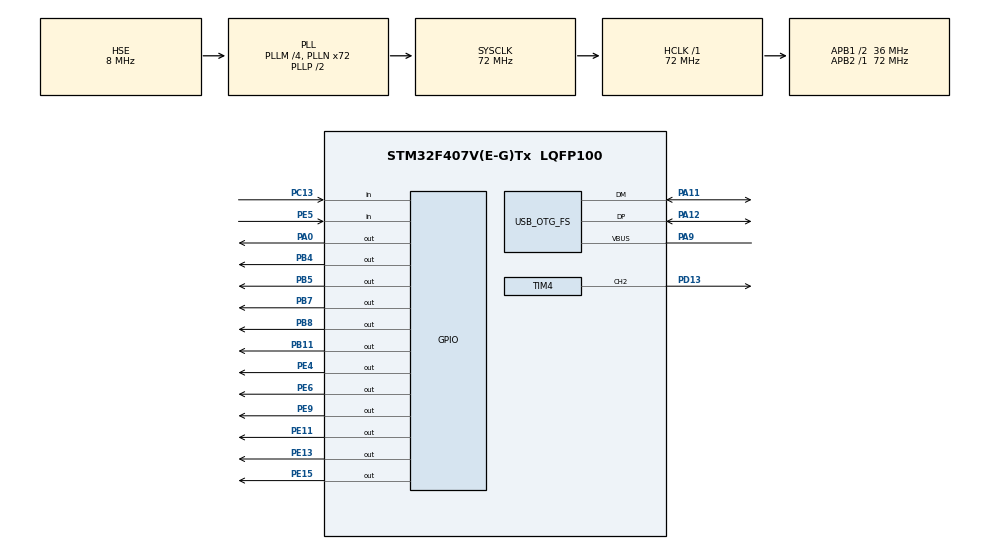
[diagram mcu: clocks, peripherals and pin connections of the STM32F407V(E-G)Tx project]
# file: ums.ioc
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FREERTOS.Tasks01=motorRampa,0,128,motorRampa_init,Default,NULL,Dynamic,NULL,NULL;lightShow,0,128,lightShow_init,Default,NULL,Dynamic,NULL,NULL;interfon,0,128,interfon_init,Default,NULL,Dynamic,NULL,NULL;citacVrata,0,128,citacVrata_init,Default,NULL,Dynamic,NULL,NULL;displej,0,128,displej_init,Default,NULL,Dynamic,NULL,NULL;pomocni,0,128,pomocni_init,Default,NULL,Dynamic,NULL,NULL
Mcu.Family=STM32F4
Mcu.Name=STM32F407V(E-G)Tx
Mcu.Package=LQFP100
NVIC.OTG_FS_IRQn=true\:5\:0\:false\:false\:true\:true\:false\:true\:true
NVIC.PriorityGroup=NVIC_PRIORITYGROUP_4
NVIC.TIM1_UP_TIM10_IRQn=true\:15\:0\:false\:false\:true\:false\:false\:true\:true
NVIC.TimeBase=TIM1_UP_TIM10_IRQn
NVIC.TimeBaseIP=TIM1
PA0-WKUP.Signal=GPIO_Output
PA11.Mode=Device_Only
PA11.Signal=USB_OTG_FS_DM
PA12.Mode=Device_Only
PA12.Signal=USB_OTG_FS_DP
PA13.Mode=Serial_Wire
PA13.Signal=SYS_JTMS-SWDIO
PA14.Mode=Serial_Wire
PA14.Signal=SYS_JTCK-SWCLK
PA9.Mode=Activate_VBUS
PA9.Signal=USB_OTG_FS_VBUS
PB11.Signal=GPIO_Output
PB4.Signal=GPIO_Output
PB5.Signal=GPIO_Output
PB7.Signal=GPIO_Output
PB8.Signal=GPIO_Output
PC13-ANTI_TAMP.Signal=GPIO_Input
PD13.Signal=S_TIM4_CH2
PE11.Signal=GPIO_Output
PE13.Signal=GPIO_Output
PE15.Signal=GPIO_Output
PE4.Signal=GPIO_Output
PE5.Signal=GPIO_Input
PE6.Signal=GPIO_Output
PE9.Signal=GPIO_Output
PH0-OSC_IN.Mode=HSE-External-Oscillator
PH0-OSC_IN.Signal=RCC_OSC_IN
PH1-OSC_OUT.Mode=HSE-External-Oscillator
PH1-OSC_OUT.Signal=RCC_OSC_OUT
ProjectManager.HeapSize=0x200
ProjectManager.StackSize=0x400
ProjectManager.TargetToolchain=STM32CubeIDE
RCC.48MHZClocksFreq_Value=48000000
RCC.AHBFreq_Value=72000000
RCC.APB1CLKDivider=RCC_HCLK_DIV2
RCC.APB1Freq_Value=36000000
RCC.APB1TimFreq_Value=72000000
RCC.APB2Freq_Value=72000000
RCC.APB2TimFreq_Value=72000000
RCC.CortexFreq_Value=72000000
RCC.HCLKFreq_Value=72000000
RCC.HSE_VALUE=8000000
RCC.HSI_VALUE=16000000
RCC.LSE_VALUE=32768
RCC.PLLM=4
RCC.PLLN=72
RCC.PLLQ=3
RCC.SYSCLKFreq_VALUE=72000000
RCC.SYSCLKSource=RCC_SYSCLKSOURCE_PLLCLK
RCC.VCOOutputFreq_Value=144000000
SH.S_TIM4_CH2.0=TIM4_CH2,PWM Generation2 CH2
TIM2.Period=0xfffff-1
TIM2.Prescaler=72-1
TIM3.Prescaler=72-1
TIM4.Channel-PWM\ Generation2\ CH2=TIM_CHANNEL_2
TIM4.Period=20
TIM4.Prescaler=1107-1
USB_DEVICE.CLASS_NAME_FS=CDC
USB_DEVICE.VirtualMode-CDC_FS=Cdc
USB_DEVICE.VirtualModeFS=Cdc_FS
USB_OTG_FS.VirtualMode=Device_Only
VP_FREERTOS_VS_CMSIS_V1.Mode=CMSIS_V1
VP_SYS_VS_tim1.Mode=TIM1
VP_TIM2_VS_ClockSourceINT.Mode=Internal
VP_TIM3_VS_ClockSourceINT.Mode=Internal
VP_TIM4_VS_ClockSourceINT.Mode=Internal
VP_USB_DEVICE_VS_USB_DEVICE_CDC_FS.Mode=CDC_FS
board=custom

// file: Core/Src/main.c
/* USER CODE BEGIN Header */
/**
  ******************************************************************************
  * @file           : main.c
  * @brief          : Main program body
  ******************************************************************************
  * @attention
  *
  * Copyright (c) 2023 STMicroelectronics.
  * All rights reserved.
  *
  * This software is licensed under terms that can be found in the LICENSE file
  * in the root directory of this software component.
  * If no LICENSE file comes with this software, it is provided AS-IS.
  *
  ******************************************************************************
  */
/* USER CODE END Header */
#include "main.h"
#include "cmsis_os.h"
#include "usb_device.h"

TIM_HandleTypeDef htim2;
TIM_HandleTypeDef htim3;
TIM_HandleTypeDef htim4;

osThreadId motorRampaHandle;
osThreadId lightShowHandle;
osThreadId interfonHandle;
osThreadId citacVrataHandle;
osThreadId displejHandle;
osThreadId pomocniHandle;
/* USER CODE BEGIN PV */
uint8_t USBDataReady = 0;
uint8_t* Buffer;
uint16_t buflen;
/* USER CODE END PV */

void SystemClock_Config(void);
static void MX_GPIO_Init(void);
static void MX_TIM2_Init(void);
static void MX_TIM3_Init(void);
static void MX_TIM4_Init(void);
void motorRampa_init(void const * argument);
void lightShow_init(void const * argument);
void interfon_init(void const * argument);
void citacVrata_init(void const * argument);
void displej_init(void const * argument);
void pomocni_init(void const * argument);

/* USER CODE BEGIN 0 */
void USBRxHandler(uint8_t* buf, uint16_t Len){
	USBDataReady = 1;
	Buffer = buf;
	buflen = Len;
}
//motor deklaracija
void delay(uint16_t us) {
	__HAL_TIM_SET_COUNTER(&htim2, 0);
	while (__HAL_TIM_GET_COUNTER(&htim2) < us)
		;
}

void stepper_set_rpm(int rpm) // Set rpm--> max 13, min 1,,,  went to 14 rev/min
{
	delay(60000000 / 4096 / rpm);
}

void stepper_half_drive_gate(int step) {
	switch (step) {
	case 0:
		HAL_GPIO_WritePin(GPIOE, GPIO_PIN_11, GPIO_PIN_SET);   // IN1
		HAL_GPIO_WritePin(GPIOE, GPIO_PIN_13, GPIO_PIN_RESET);   // IN2
		HAL_GPIO_WritePin(GPIOE, GPIO_PIN_15, GPIO_PIN_RESET);   // IN3
		HAL_GPIO_WritePin(GPIOB, GPIO_PIN_11, GPIO_PIN_RESET);   // IN4
		break;

	case 1:
		HAL_GPIO_WritePin(GPIOE, GPIO_PIN_11, GPIO_PIN_SET);   // IN1
		HAL_GPIO_WritePin(GPIOE, GPIO_PIN_13, GPIO_PIN_SET);   // IN2
		HAL_GPIO_WritePin(GPIOE, GPIO_PIN_15, GPIO_PIN_RESET);   // IN3
		HAL_GPIO_WritePin(GPIOB, GPIO_PIN_11, GPIO_PIN_RESET);   // IN4
		break;

	case 2:
		HAL_GPIO_WritePin(GPIOE, GPIO_PIN_11, GPIO_PIN_RESET);   // IN1
		HAL_GPIO_WritePin(GPIOE, GPIO_PIN_13, GPIO_PIN_SET);   // IN2
		HAL_GPIO_WritePin(GPIOE, GPIO_PIN_15, GPIO_PIN_RESET);   // IN3
		HAL_GPIO_WritePin(GPIOB, GPIO_PIN_11, GPIO_PIN_RESET);   // IN4
		break;

	case 3:
		HAL_GPIO_WritePin(GPIOE, GPIO_PIN_11, GPIO_PIN_RESET);   // IN1
		HAL_GPIO_WritePin(GPIOE, GPIO_PIN_13, GPIO_PIN_SET);   // IN2
		HAL_GPIO_WritePin(GPIOE, GPIO_PIN_15, GPIO_PIN_SET);   // IN3
		HAL_GPIO_WritePin(GPIOB, GPIO_PIN_11, GPIO_PIN_RESET);   // IN4
		break;

	case 4:

		HAL_GPIO_WritePin(GPIOE, GPIO_PIN_11, GPIO_PIN_RESET);   // IN1
		HAL_GPIO_WritePin(GPIOE, GPIO_PIN_13, GPIO_PIN_RESET);   // IN2
		HAL_GPIO_WritePin(GPIOE, GPIO_PIN_15, GPIO_PIN_SET);   // IN3
		HAL_GPIO_WritePin(GPIOB, GPIO_PIN_11, GPIO_PIN_RESET);   // IN4
		break;

	case 5:
		HAL_GPIO_WritePin(GPIOE, GPIO_PIN_11, GPIO_PIN_RESET);   // IN1
		HAL_GPIO_WritePin(GPIOE, GPIO_PIN_13, GPIO_PIN_RESET);   // IN2
		HAL_GPIO_WritePin(GPIOE, GPIO_PIN_15, GPIO_PIN_SET);   // IN3
		HAL_GPIO_WritePin(GPIOB, GPIO_PIN_11, GPIO_PIN_SET);   // IN4
		break;

	case 6:
		HAL_GPIO_WritePin(GPIOE, GPIO_PIN_11, GPIO_PIN_RESET);   // IN1
		HAL_GPIO_WritePin(GPIOE, GPIO_PIN_13, GPIO_PIN_RESET);   // IN2
		HAL_GPIO_WritePin(GPIOE, GPIO_PIN_15, GPIO_PIN_RESET);   // IN3
		HAL_GPIO_WritePin(GPIOB, GPIO_PIN_11, GPIO_PIN_SET);   // IN4
		break;

	case 7:
		HAL_GPIO_WritePin(GPIOE, GPIO_PIN_11, GPIO_PIN_SET);   // IN1
		HAL_GPIO_WritePin(GPIOE, GPIO_PIN_13, GPIO_PIN_RESET);   // IN2
		HAL_GPIO_WritePin(GPIOE, GPIO_PIN_15, GPIO_PIN_RESET);   // IN3
		HAL_GPIO_WritePin(GPIOB, GPIO_PIN_11, GPIO_PIN_SET);   // IN4
		break;
	}
}
//motor2
void stepper_half_drive_gate2(int step) {
	switch (step) {
	case 0:
		HAL_GPIO_WritePin(GPIOE, GPIO_PIN_6, GPIO_PIN_SET);   // IN1
		HAL_GPIO_WritePin(GPIOE, GPIO_PIN_4, GPIO_PIN_RESET);   // IN2
		HAL_GPIO_WritePin(GPIOB, GPIO_PIN_8, GPIO_PIN_RESET);   // IN3
		HAL_GPIO_WritePin(GPIOB, GPIO_PIN_4, GPIO_PIN_RESET);   // IN4
		break;

	case 1:
		HAL_GPIO_WritePin(GPIOE, GPIO_PIN_6, GPIO_PIN_SET);   // IN1
		HAL_GPIO_WritePin(GPIOE, GPIO_PIN_4, GPIO_PIN_SET);   // IN2
		HAL_GPIO_WritePin(GPIOB, GPIO_PIN_8, GPIO_PIN_RESET);   // IN3
		HAL_GPIO_WritePin(GPIOB, GPIO_PIN_4, GPIO_PIN_RESET);   // IN4
		break;

	case 2:
		HAL_GPIO_WritePin(GPIOE, GPIO_PIN_6, GPIO_PIN_RESET);   // IN1
		HAL_GPIO_WritePin(GPIOE, GPIO_PIN_4, GPIO_PIN_SET);   // IN2
		HAL_GPIO_WritePin(GPIOB, GPIO_PIN_8, GPIO_PIN_RESET);   // IN3
		HAL_GPIO_WritePin(GPIOB, GPIO_PIN_4, GPIO_PIN_RESET);   // IN4
		break;

	case 3:
		HAL_GPIO_WritePin(GPIOE, GPIO_PIN_6, GPIO_PIN_RESET);   // IN1
		HAL_GPIO_WritePin(GPIOE, GPIO_PIN_4, GPIO_PIN_SET);   // IN2
		HAL_GPIO_WritePin(GPIOB, GPIO_PIN_8, GPIO_PIN_SET);   // IN3
		HAL_GPIO_WritePin(GPIOB, GPIO_PIN_4, GPIO_PIN_RESET);   // IN4
		break;

	case 4:

		HAL_GPIO_WritePin(GPIOE, GPIO_PIN_6, GPIO_PIN_RESET);   // IN1
		HAL_GPIO_WritePin(GPIOE, GPIO_PIN_4, GPIO_PIN_RESET);   // IN2
		HAL_GPIO_WritePin(GPIOB, GPIO_PIN_8, GPIO_PIN_SET);   // IN3
		HAL_GPIO_WritePin(GPIOB, GPIO_PIN_4, GPIO_PIN_RESET);   // IN4
		break;

	case 5:
		HAL_GPIO_WritePin(GPIOE, GPIO_PIN_6, GPIO_PIN_RESET);   // IN1
		HAL_GPIO_WritePin(GPIOE, GPIO_PIN_4, GPIO_PIN_RESET);   // IN2
		HAL_GPIO_WritePin(GPIOB, GPIO_PIN_8, GPIO_PIN_SET);   // IN3
		HAL_GPIO_WritePin(GPIOB, GPIO_PIN_4, GPIO_PIN_SET);   // IN4
		break;

	case 6:
		HAL_GPIO_WritePin(GPIOE, GPIO_PIN_6, GPIO_PIN_RESET);   // IN1
		HAL_GPIO_WritePin(GPIOE, GPIO_PIN_4, GPIO_PIN_RESET);   // IN2
		HAL_GPIO_WritePin(GPIOB, GPIO_PIN_8, GPIO_PIN_RESET);   // IN3
		HAL_GPIO_WritePin(GPIOB, GPIO_PIN_4, GPIO_PIN_SET);   // IN4
		break;

	case 7:
		HAL_GPIO_WritePin(GPIOE, GPIO_PIN_6, GPIO_PIN_SET);   // IN1
		HAL_GPIO_WritePin(GPIOE, GPIO_PIN_4, GPIO_PIN_RESET);   // IN2
		HAL_GPIO_WritePin(GPIOB, GPIO_PIN_8, GPIO_PIN_RESET);   // IN3
		HAL_GPIO_WritePin(GPIOB, GPIO_PIN_4, GPIO_PIN_SET);   // IN4
		break;
	}
}
void delay_ms_soft(uint32_t ms)
{
	volatile uint32_t k = 10500 * ms;
	while(k--);
}
/* USER CODE END 0 */

int main(void)
{
  /* USER CODE BEGIN 1 */
	__HAL_RCC_GPIOD_CLK_ENABLE();
	GPIO_InitTypeDef GPIO_InitStruct;
		GPIO_InitStruct.Pin = GPIO_PIN_2|GPIO_PIN_0|GPIO_PIN_6;
		GPIO_InitStruct.Mode = GPIO_MODE_OUTPUT_PP;
		GPIO_InitStruct.Pull = GPIO_NOPULL;
		GPIO_InitStruct.Speed = GPIO_SPEED_HIGH;

		HAL_GPIO_Init(GPIOD, &GPIO_InitStruct);

		__HAL_RCC_GPIOC_CLK_ENABLE();

		GPIO_InitStruct.Pin = GPIO_PIN_11|GPIO_PIN_9;
		GPIO_InitStruct.Mode = GPIO_MODE_OUTPUT_PP;
		GPIO_InitStruct.Pull = GPIO_NOPULL;
		GPIO_InitStruct.Speed = GPIO_SPEED_HIGH;

		HAL_GPIO_Init(GPIOC, &GPIO_InitStruct);

	__HAL_RCC_GPIOA_CLK_ENABLE();

		GPIO_InitStruct.Pin = GPIO_PIN_15;
		GPIO_InitStruct.Mode = GPIO_MODE_OUTPUT_PP;
		GPIO_InitStruct.Pull = GPIO_NOPULL;
		GPIO_InitStruct.Speed = GPIO_SPEED_HIGH;

		HAL_GPIO_Init(GPIOA, &GPIO_InitStruct);
  /* USER CODE END 1 */

  /* MCU Configuration--------------------------------------------------------*/

  /* Reset of all peripherals, Initializes the Flash interface and the Systick. */
  HAL_Init();

  /* Configure the system clock */
  SystemClock_Config();

  /* Initialize all configured peripherals */
  MX_GPIO_Init();
  MX_TIM2_Init();
  MX_TIM3_Init();
  MX_TIM4_Init();
  /* USER CODE BEGIN 2 */
  HAL_TIM_Base_Start(&htim2);
  HAL_TIM_Base_Start(&htim3);
  HAL_TIM_Base_Start(&htim4);

  HAL_TIM_PWM_Start(&htim4, TIM_CHANNEL_2);
  /* USER CODE END 2 */

  /* Create the thread(s) */
  /* definition and creation of motorRampa */
  osThreadDef(motorRampa, motorRampa_init, osPriorityNormal, 0, 128);
  motorRampaHandle = osThreadCreate(osThread(motorRampa), NULL);

  /* definition and creation of lightShow */
  osThreadDef(lightShow, lightShow_init, osPriorityNormal, 0, 128);
  lightShowHandle = osThreadCreate(osThread(lightShow), NULL);

  /* definition and creation of interfon */
  osThreadDef(interfon, interfon_init, osPriorityNormal, 0, 128);
  interfonHandle = osThreadCreate(osThread(interfon), NULL);

  /* definition and creation of citacVrata */
  osThreadDef(citacVrata, citacVrata_init, osPriorityNormal, 0, 128);
  citacVrataHandle = osThreadCreate(osThread(citacVrata), NULL);

  /* definition and creation of displej */
  osThreadDef(displej, displej_init, osPriorityNormal, 0, 128);
  displejHandle = osThreadCreate(osThread(displej), NULL);

  /* definition and creation of pomocni */
  osThreadDef(pomocni, pomocni_init, osPriorityNormal, 0, 128);
  pomocniHandle = osThreadCreate(osThread(pomocni), NULL);

  /* Start scheduler */
  osKernelStart();
  /* We should never get here as control is now taken by the scheduler */
  /* Infinite loop */
  while (1)
  {

  }
}

void SystemClock_Config(void)
{
  RCC_OscInitTypeDef RCC_OscInitStruct = {0};
  RCC_ClkInitTypeDef RCC_ClkInitStruct = {0};

  /** Configure the main internal regulator output voltage
  */
  __HAL_RCC_PWR_CLK_ENABLE();
  __HAL_PWR_VOLTAGESCALING_CONFIG(PWR_REGULATOR_VOLTAGE_SCALE1);

  /** Initializes the RCC Oscillators according to the specified parameters
  * in the RCC_OscInitTypeDef structure.
  */
  RCC_OscInitStruct.OscillatorType = RCC_OSCILLATORTYPE_HSE;
  RCC_OscInitStruct.HSEState = RCC_HSE_ON;
  RCC_OscInitStruct.PLL.PLLState = RCC_PLL_ON;
  RCC_OscInitStruct.PLL.PLLSource = RCC_PLLSOURCE_HSE;
  RCC_OscInitStruct.PLL.PLLM = 4;
  RCC_OscInitStruct.PLL.PLLN = 72;
  RCC_OscInitStruct.PLL.PLLP = RCC_PLLP_DIV2;
  RCC_OscInitStruct.PLL.PLLQ = 3;
  if (HAL_RCC_OscConfig(&RCC_OscInitStruct) != HAL_OK)
  {
    Error_Handler();
  }

  /** Initializes the CPU, AHB and APB buses clocks
  */
  RCC_ClkInitStruct.ClockType = RCC_CLOCKTYPE_HCLK|RCC_CLOCKTYPE_SYSCLK
                              |RCC_CLOCKTYPE_PCLK1|RCC_CLOCKTYPE_PCLK2;
  RCC_ClkInitStruct.SYSCLKSource = RCC_SYSCLKSOURCE_PLLCLK;
  RCC_ClkInitStruct.AHBCLKDivider = RCC_SYSCLK_DIV1;
  RCC_ClkInitStruct.APB1CLKDivider = RCC_HCLK_DIV2;
  RCC_ClkInitStruct.APB2CLKDivider = RCC_HCLK_DIV1;

  if (HAL_RCC_ClockConfig(&RCC_ClkInitStruct, FLASH_LATENCY_2) != HAL_OK)
  {
    Error_Handler();
  }
}

static void MX_TIM2_Init(void)
{

  TIM_ClockConfigTypeDef sClockSourceConfig = {0};
  TIM_MasterConfigTypeDef sMasterConfig = {0};

  htim2.Instance = TIM2;
  htim2.Init.Prescaler = 72-1;
  htim2.Init.CounterMode = TIM_COUNTERMODE_UP;
  htim2.Init.Period = 0xfffff-1;
  htim2.Init.ClockDivision = TIM_CLOCKDIVISION_DIV1;
  htim2.Init.AutoReloadPreload = TIM_AUTORELOAD_PRELOAD_DISABLE;
  if (HAL_TIM_Base_Init(&htim2) != HAL_OK)
  {
    Error_Handler();
  }
  sClockSourceConfig.ClockSource = TIM_CLOCKSOURCE_INTERNAL;
  if (HAL_TIM_ConfigClockSource(&htim2, &sClockSourceConfig) != HAL_OK)
  {
    Error_Handler();
  }
  sMasterConfig.MasterOutputTrigger = TIM_TRGO_RESET;
  sMasterConfig.MasterSlaveMode = TIM_MASTERSLAVEMODE_DISABLE;
  if (HAL_TIMEx_MasterConfigSynchronization(&htim2, &sMasterConfig) != HAL_OK)
  {
    Error_Handler();
  }

}

static void MX_TIM3_Init(void)
{

  TIM_ClockConfigTypeDef sClockSourceConfig = {0};
  TIM_MasterConfigTypeDef sMasterConfig = {0};

  htim3.Instance = TIM3;
  htim3.Init.Prescaler = 72-1;
  htim3.Init.CounterMode = TIM_COUNTERMODE_UP;
  htim3.Init.Period = 65535;
  htim3.Init.ClockDivision = TIM_CLOCKDIVISION_DIV1;
  htim3.Init.AutoReloadPreload = TIM_AUTORELOAD_PRELOAD_DISABLE;
  if (HAL_TIM_Base_Init(&htim3) != HAL_OK)
  {
    Error_Handler();
  }
  sClockSourceConfig.ClockSource = TIM_CLOCKSOURCE_INTERNAL;
  if (HAL_TIM_ConfigClockSource(&htim3, &sClockSourceConfig) != HAL_OK)
  {
    Error_Handler();
  }
  sMasterConfig.MasterOutputTrigger = TIM_TRGO_RESET;
  sMasterConfig.MasterSlaveMode = TIM_MASTERSLAVEMODE_DISABLE;
  if (HAL_TIMEx_MasterConfigSynchronization(&htim3, &sMasterConfig) != HAL_OK)
  {
    Error_Handler();
  }

}

static void MX_TIM4_Init(void)
{

  TIM_ClockConfigTypeDef sClockSourceConfig = {0};
  TIM_MasterConfigTypeDef sMasterConfig = {0};
  TIM_OC_InitTypeDef sConfigOC = {0};

  htim4.Instance = TIM4;
  htim4.Init.Prescaler = 1107-1;
  htim4.Init.CounterMode = TIM_COUNTERMODE_UP;
  htim4.Init.Period = 20;
  htim4.Init.ClockDivision = TIM_CLOCKDIVISION_DIV1;
  htim4.Init.AutoReloadPreload = TIM_AUTORELOAD_PRELOAD_DISABLE;
  if (HAL_TIM_Base_Init(&htim4) != HAL_OK)
  {
    Error_Handler();
  }
  sClockSourceConfig.ClockSource = TIM_CLOCKSOURCE_INTERNAL;
  if (HAL_TIM_ConfigClockSource(&htim4, &sClockSourceConfig) != HAL_OK)
  {
    Error_Handler();
  }
  if (HAL_TIM_PWM_Init(&htim4) != HAL_OK)
  {
    Error_Handler();
  }
  sMasterConfig.MasterOutputTrigger = TIM_TRGO_RESET;
  sMasterConfig.MasterSlaveMode = TIM_MASTERSLAVEMODE_DISABLE;
  if (HAL_TIMEx_MasterConfigSynchronization(&htim4, &sMasterConfig) != HAL_OK)
  {
    Error_Handler();
  }
  sConfigOC.OCMode = TIM_OCMODE_PWM1;
  sConfigOC.Pulse = 0;
  sConfigOC.OCPolarity = TIM_OCPOLARITY_HIGH;
  sConfigOC.OCFastMode = TIM_OCFAST_DISABLE;
  if (HAL_TIM_PWM_ConfigChannel(&htim4, &sConfigOC, TIM_CHANNEL_2) != HAL_OK)
  {
    Error_Handler();
  }
  HAL_TIM_MspPostInit(&htim4);

}

static void MX_GPIO_Init(void)
{
  GPIO_InitTypeDef GPIO_InitStruct = {0};

  /* GPIO Ports Clock Enable */
  __HAL_RCC_GPIOE_CLK_ENABLE();
  __HAL_RCC_GPIOC_CLK_ENABLE();
  __HAL_RCC_GPIOH_CLK_ENABLE();
  __HAL_RCC_GPIOA_CLK_ENABLE();
  __HAL_RCC_GPIOB_CLK_ENABLE();
  __HAL_RCC_GPIOD_CLK_ENABLE();

  /*Configure GPIO pin Output Level */
  HAL_GPIO_WritePin(GPIOE, GPIO_PIN_4|GPIO_PIN_6|GPIO_PIN_9|GPIO_PIN_11
                          |GPIO_PIN_13|GPIO_PIN_15, GPIO_PIN_RESET);

  /*Configure GPIO pin Output Level */
  HAL_GPIO_WritePin(GPIOA, GPIO_PIN_0, GPIO_PIN_RESET);

  /*Configure GPIO pin Output Level */
  HAL_GPIO_WritePin(GPIOB, GPIO_PIN_11|GPIO_PIN_4|GPIO_PIN_5|GPIO_PIN_7
                          |GPIO_PIN_8, GPIO_PIN_RESET);

  /*Configure GPIO pins : PE4 PE6 PE9 PE11
                           PE13 PE15 */
  GPIO_InitStruct.Pin = GPIO_PIN_4|GPIO_PIN_6|GPIO_PIN_9|GPIO_PIN_11
                          |GPIO_PIN_13|GPIO_PIN_15;
  GPIO_InitStruct.Mode = GPIO_MODE_OUTPUT_PP;
  GPIO_InitStruct.Pull = GPIO_NOPULL;
  GPIO_InitStruct.Speed = GPIO_SPEED_FREQ_LOW;
  HAL_GPIO_Init(GPIOE, &GPIO_InitStruct);

  /*Configure GPIO pin : PE5 */
  GPIO_InitStruct.Pin = GPIO_PIN_5;
  GPIO_InitStruct.Mode = GPIO_MODE_INPUT;
  GPIO_InitStruct.Pull = GPIO_NOPULL;
  HAL_GPIO_Init(GPIOE, &GPIO_InitStruct);

  /*Configure GPIO pin : PC13 */
  GPIO_InitStruct.Pin = GPIO_PIN_13;
  GPIO_InitStruct.Mode = GPIO_MODE_INPUT;
  GPIO_InitStruct.Pull = GPIO_NOPULL;
  HAL_GPIO_Init(GPIOC, &GPIO_InitStruct);

  /*Configure GPIO pin : PA0 */
  GPIO_InitStruct.Pin = GPIO_PIN_0;
  GPIO_InitStruct.Mode = GPIO_MODE_OUTPUT_PP;
  GPIO_InitStruct.Pull = GPIO_NOPULL;
  GPIO_InitStruct.Speed = GPIO_SPEED_FREQ_LOW;
  HAL_GPIO_Init(GPIOA, &GPIO_InitStruct);

  /*Configure GPIO pins : PB11 PB4 PB5 PB7
                           PB8 */
  GPIO_InitStruct.Pin = GPIO_PIN_11|GPIO_PIN_4|GPIO_PIN_5|GPIO_PIN_7
                          |GPIO_PIN_8;
  GPIO_InitStruct.Mode = GPIO_MODE_OUTPUT_PP;
  GPIO_InitStruct.Pull = GPIO_NOPULL;
  GPIO_InitStruct.Speed = GPIO_SPEED_FREQ_LOW;
  HAL_GPIO_Init(GPIOB, &GPIO_InitStruct);

}

void motorRampa_init(void const * argument)
{
  /* init code for USB_DEVICE */
  MX_USB_DEVICE_Init();
  /* USER CODE BEGIN 5 */
  //uint8_t prev_state = 0;
  /* Infinite loop */
  for(;;)
  {
    osDelay(1);
    //Otvaranje rampe kada primi poruku open od citaca
	if(USBDataReady == 1 && (strncmp(Buffer,"Open\n",buflen)==0)){
	float anglepersequence = 0.703125;
	uint32_t angle_sequence = (int) (90 / anglepersequence);
	uint32_t temp_angle_sequence = angle_sequence;
	while (temp_angle_sequence) {
		for (int step = 7; step >= 0; step--) {
			stepper_half_drive_gate(step);
			stepper_set_rpm(13);
		}
		temp_angle_sequence--;
	}
	HAL_Delay(3000);
	while (temp_angle_sequence <= angle_sequence) {
		for (int step = 0; step < 8; step++) {
			stepper_half_drive_gate(step);
			stepper_set_rpm(13);
		}
		++temp_angle_sequence;
		if (HAL_GPIO_ReadPin(GPIOE, GPIO_PIN_5) == 0) {
		HAL_Delay(1000);
		while (temp_angle_sequence) {
			for (int step = 7; step >= 0; step--) {
				stepper_half_drive_gate(step);
				stepper_set_rpm(4);
			}
			temp_angle_sequence--;
		}
		HAL_Delay(3000);
		}
	}

	USBDataReady = 0;
	//Buffer = 0;
	//buflen = 0;
	}
	if(HAL_GPIO_ReadPin(GPIOC, GPIO_PIN_13) == 0){
			float anglepersequence = 0.703125;
			uint32_t angle_sequence = (int) (90 / anglepersequence);
			uint32_t temp_angle_sequence = angle_sequence;
			while (temp_angle_sequence) {
				for (int step = 7; step >= 0; step--) {
					stepper_half_drive_gate(step);
					stepper_set_rpm(13);
				}
				temp_angle_sequence--;
			}
			HAL_Delay(3000);
			while (temp_angle_sequence <= angle_sequence) {
				for (int step = 0; step < 8; step++) {
					stepper_half_drive_gate(step);
					stepper_set_rpm(13);
				}
				++temp_angle_sequence;
				if (HAL_GPIO_ReadPin(GPIOE, GPIO_PIN_5) == 0) {
				HAL_Delay(1000);
				while (temp_angle_sequence) {
					for (int step = 7; step >= 0; step--) {
						stepper_half_drive_gate(step);
						stepper_set_rpm(4);
					}
					temp_angle_sequence--;
				}
				HAL_Delay(3000);
				}
			}
		}
  }
  /* USER CODE END 5 */
}

void lightShow_init(void const * argument)
{
  /* USER CODE BEGIN lightShow_init */
	uint16_t leds[8] = {0xF,0xE,0xC,0x8,0x0,0x1,0x3,0x7};
	uint8_t n = 0;
  /* Infinite loop */
  for(;;)
  {
    osDelay(1);
	  delay_ms_soft(100);
	  		HAL_GPIO_WritePin(GPIOD,GPIO_PIN_2,leds[n] & 0x01);
	  		HAL_GPIO_WritePin(GPIOD,GPIO_PIN_0,(leds[n] >> 1) & 0x01);
	  		HAL_GPIO_WritePin(GPIOC,GPIO_PIN_11,(leds[n] >> 2) & 0x01);
	  		HAL_GPIO_WritePin(GPIOA,GPIO_PIN_15,(leds[n] >> 3) & 0x01);
	  		n++;
	  		if(n == 8)
	  			n = 0;
  }
  /* USER CODE END lightShow_init */
}

void interfon_init(void const * argument)
{
  /* USER CODE BEGIN interfon_init */
  /* Infinite loop */
  for(;;)
  {
    osDelay(1);
    if (HAL_GPIO_ReadPin(GPIOA, GPIO_PIN_0) == 1) {
    	htim4.Instance->CCR2 = 20;
    	HAL_Delay(2000);
    	}
    HAL_Delay(2000);
    htim4.Instance->CCR2 = 0;
    if(HAL_GPIO_ReadPin(GPIOE, GPIO_PIN_9)){
    	float anglepersequence = 0.703125;
    		uint32_t angle_sequence = (int) (40 / anglepersequence);
    		uint32_t temp_angle_sequence = angle_sequence;
    		while (temp_angle_sequence) {
    			for (int step = 0; step < 8; step++) {
    				stepper_half_drive_gate2(step);
    				stepper_set_rpm(13);
    			}
    			temp_angle_sequence--;
    		}
    		HAL_Delay(10000);
    		while (temp_angle_sequence <= angle_sequence) {
    			for (int step = 7; step >= 0; step--) {
    				stepper_half_drive_gate2(step);
    				stepper_set_rpm(13);
    			}
    			++temp_angle_sequence;
     			/*
    			if (HAL_GPIO_ReadPin(GPIOE, GPIO_PIN_5) == 0) {
    			HAL_Delay(1000);

    			while (temp_angle_sequence) {
    				for (int step = 7; step >= 0; step--) {
    					stepper_half_drive_gate2(step);
    					stepper_set_rpm(4);
    				}
    				temp_angle_sequence--;
    			}
    			HAL_Delay(3000);
    			}*/
    		}

    	  }
  }
  /* USER CODE END interfon_init */
}

void citacVrata_init(void const * argument)
{
  /* USER CODE BEGIN citacVrata_init */
  /* Infinite loop */
  for(;;)
  {
    osDelay(1);
    if(USBDataReady == 1 && (strncmp(Buffer,"Door\n",buflen)==0)){
    	float anglepersequence = 0.703125;
    	uint32_t angle_sequence = (int) (90 / anglepersequence);
    	uint32_t temp_angle_sequence = angle_sequence;
    	while (temp_angle_sequence) {
    		for (int step = 0; step < 8; step++) {
    			stepper_half_drive_gate2(step);
    			stepper_set_rpm(13);
    		}
    		temp_angle_sequence--;
    	}
    	HAL_Delay(3000);
    	while (temp_angle_sequence <= angle_sequence) {
    		for (int step = 7; step >= 0; step--) {
    			stepper_half_drive_gate2(step);
    			stepper_set_rpm(13);
    		}
    		++temp_angle_sequence;

    		/*
    		if (HAL_GPIO_ReadPin(GPIOE, GPIO_PIN_5) == 0) {
    		HAL_Delay(1000);
    		while (temp_angle_sequence) {
    			for (int step = 7; step >= 0; step--) {
    				stepper_half_drive_gate2(step);
    				stepper_set_rpm(4);
    			}
    			temp_angle_sequence--;
    		}
    		HAL_Delay(3000);
    		}*/
    	}

    	USBDataReady = 0;
    	Buffer = 0;
    	buflen=0;
    	}
  }
  /* USER CODE END citacVrata_init */
}

void displej_init(void const * argument)
{
  for(;;)
  {
    osDelay(1);
  }
}

void pomocni_init(void const * argument)
{
  /* USER CODE BEGIN pomocni_init */
  /* Infinite loop */
  for(;;)
  {
    osDelay(1);
    HAL_GPIO_WritePin(GPIOD, GPIO_PIN_6, GPIO_PIN_SET);
        HAL_GPIO_WritePin(GPIOC, GPIO_PIN_9, GPIO_PIN_SET);
  }
  /* USER CODE END pomocni_init */
}

void HAL_TIM_PeriodElapsedCallback(TIM_HandleTypeDef *htim)
{
  if (htim->Instance == TIM1) {
    HAL_IncTick();
  }
}

void Error_Handler(void)
{
  __disable_irq();
  while (1)
  {
  }
}
